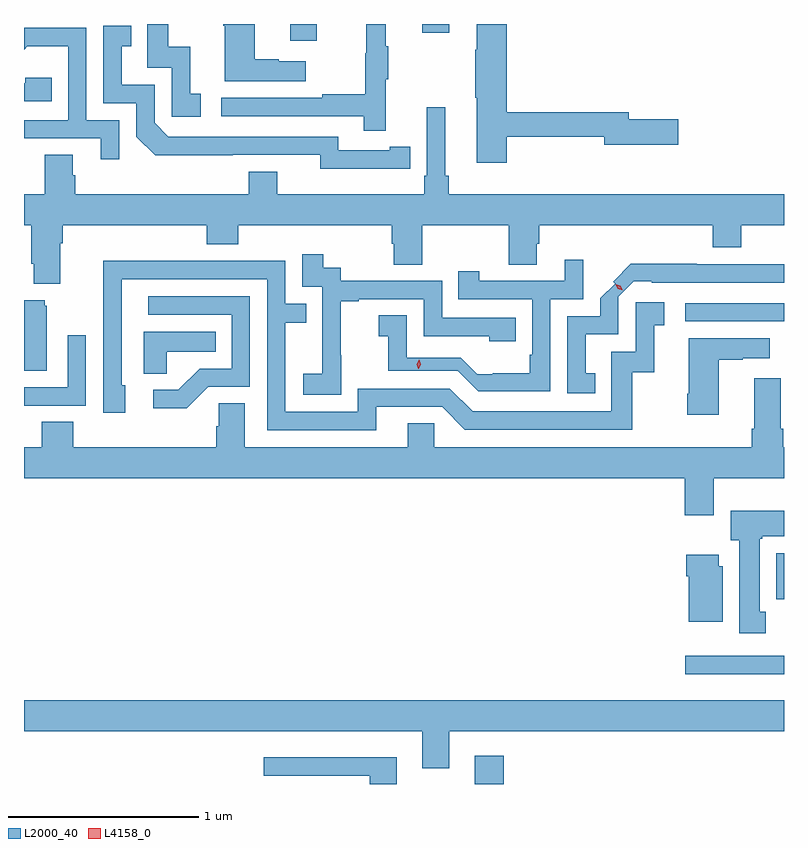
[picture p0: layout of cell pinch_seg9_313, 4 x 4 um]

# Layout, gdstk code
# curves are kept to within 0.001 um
import gdstk
lib = gdstk.Library(unit=1e-6, precision=1e-09)
def R(c, l, rs):  # rectangles x0, y0, x1, y1
    for r in rs: c.add(gdstk.rectangle(r[:2], r[2:], *l))
def P(c, l, *ps):  # polygons
    for p in ps: c.add(gdstk.Polygon(p, *l))
L2000_40 = (2000, 40)
L4158_0 = (4158, 0)

pinch_seg9_313 = lib.new_cell('pinch_seg9_313')
R(pinch_seg9_313, L2000_40, [(569.591,1177.495,569.744,1177.645), (570.699,1178.072,571.218,1178.169), (571.178,1178.468,571.218,1178.71), (570.699,1179.93,571.218,1180.026), (568.619,1181.406,568.759,1181.495), (569.315,1181.448,569.455,1181.495)])
P(pinch_seg9_313, L2000_40, [(568.147,1181.127),(568.094,1181.127),(568.094,1181.374),(567.976,1181.374),(567.976,1181.495),(567.867,1181.495),(567.867,1181.265),(567.996,1181.265),(567.996,1181.007),(568.147,1181.007)],
  [(568.702,1181.299),(568.559,1181.299),(568.559,1181.309),(568.432,1181.309),(568.432,1181.495),(568.267,1181.495),(568.267,1181.486),(568.274,1181.486),(568.274,1181.195),(568.702,1181.195)],
  [(569.759,1180.902),(570.272,1180.902),(570.272,1180.859),(570.661,1180.859),(570.661,1180.994),(570.4,1180.994),(570.4,1181.03),(569.759,1181.03),(569.759,1181.495),(569.6,1181.495),(569.6,1181.36),(569.593,1181.36),(569.593,1181.107),(569.6,1181.107),(569.6,1180.764),(569.759,1180.764)],
  [(569.123,1181.203),(569.134,1181.203),(569.134,1181.377),(569.123,1181.377),(569.123,1181.495),(569.02,1181.495),(569.02,1181.34),(569.013,1181.34),(569.013,1181.126),(568.789,1181.126),(568.789,1181.106),(568.257,1181.106),(568.257,1181.01),(569.005,1181.01),(569.005,1180.932),(569.123,1180.932)],
  [(569.144,1180.734),(569.252,1180.734),(569.252,1180.85),(569.144,1180.85),(569.144,1180.83),(568.872,1180.83),(568.872,1180.902),(567.978,1180.902),(567.906,1180.974),(567.906,1181.175),(567.733,1181.175),(567.733,1181.379),(567.782,1181.379),(567.782,1181.485),(567.636,1181.485),(567.636,1181.079),(567.81,1181.079),(567.81,1180.902),(567.908,1180.805),(568.776,1180.806),(568.776,1180.733)],
  [(567.72,1180.989),(567.546,1180.989),(567.546,1181.475),(567.218,1181.475),(567.218,1181.36),(567.236,1181.378),(567.45,1181.378),(567.45,1180.989),(567.218,1180.989),(567.218,1180.893),(567.623,1180.893),(567.623,1180.782),(567.72,1180.782)],
  [(567.365,1181.211),(567.225,1181.211),(567.225,1181.184),(567.218,1181.184),(567.218,1181.088),(567.365,1181.088)],
  [(567.409,1180.34),(567.422,1180.34),(567.422,1180.436),(568.181,1180.436),(568.181,1180.337),(568.346,1180.337),(568.346,1180.436),(569.153,1180.436),(569.153,1180.338),(569.165,1180.338),(569.165,1180.228),(569.313,1180.228),(569.313,1180.436),(569.77,1180.436),(569.77,1180.228),(569.917,1180.228),(569.917,1180.338),(569.93,1180.338),(569.93,1180.436),(570.842,1180.436),(570.842,1180.319),(570.994,1180.319),(570.994,1180.436),(571.218,1180.436),(571.218,1180.6),(569.453,1180.6),(569.453,1180.696),(569.434,1180.696),(569.434,1181.056),(569.337,1181.056),(569.337,1180.696),(569.324,1180.696),(569.324,1180.6),(568.552,1180.6),(568.552,1180.717),(568.4,1180.717),(568.4,1180.6),(567.488,1180.6),(567.488,1180.698),(567.475,1180.698),(567.475,1180.808),(567.328,1180.808),(567.328,1180.6),(567.218,1180.6),(567.218,1180.436),(567.257,1180.436),(567.257,1180.234),(567.269,1180.234),(567.269,1180.127),(567.409,1180.127)],
  [(568.887,1179.751),(568.886,1179.751),(568.886,1180.035),(568.981,1180.035),(568.981,1180.047),(569.322,1180.047),(569.322,1179.852),(569.667,1179.852),(569.667,1179.824),(569.807,1179.824),(569.807,1179.948),(569.418,1179.948),(569.418,1180.143),(568.884,1180.143),(568.884,1180.212),(568.792,1180.212),(568.792,1180.282),(568.683,1180.282),(568.683,1180.113),(568.788,1180.113),(568.788,1179.884),(568.787,1179.884),(568.787,1179.655),(568.689,1179.655),(568.689,1179.545),(568.887,1179.545)],
  [(569.988,1180.047),(570.162,1180.047),(570.162,1180.255),(570.065,1180.255),(570.065,1180.143),(569.614,1180.143),(569.614,1180.195),(569.503,1180.195),(569.503,1180.047),(569.892,1180.047),(569.892,1179.754),(569.88,1179.754),(569.88,1179.658),(569.684,1179.658),(569.684,1179.651),(569.603,1179.651),(569.517,1179.738),(569.232,1179.738),(569.232,1179.961),(569.085,1179.961),(569.085,1179.851),(569.134,1179.851),(569.134,1179.669),(569.502,1179.669),(569.61,1179.561),(569.988,1179.561)],
  [(569.071,1179.48),(569.418,1179.48),(569.538,1179.36),(570.418,1179.36),(570.418,1179.663),(570.536,1179.663),(570.536,1179.909),(570.589,1179.909),(570.589,1180.03),(570.438,1180.03),(570.438,1179.771),(570.309,1179.771),(570.309,1179.456),(569.58,1179.456),(569.46,1179.576),(568.974,1179.576),(568.974,1179.453),(568.593,1179.453),(568.593,1179.922),(568.703,1179.922),(568.703,1180.023),(568.593,1180.023),(568.593,1180.248),(568.097,1180.248),(568.097,1180.25),(567.634,1180.25),(567.634,1179.943),(567.636,1179.943),(567.636,1179.45),(567.751,1179.45),(567.751,1179.594),(567.732,1179.594),(567.732,1180.152),(568.497,1180.152),(568.497,1179.357),(569.071,1179.357)],
  [(570.224,1179.657),(570.175,1179.657),(570.175,1179.861),(570.345,1179.861),(570.345,1180.059),(570.426,1180.14),(570.523,1180.14),(570.523,1180.134),(571.218,1180.134),(571.218,1180.23),(570.758,1180.23),(570.758,1180.232),(570.412,1180.232),(570.319,1180.139),(570.33,1180.129),(570.252,1180.051),(570.252,1179.957),(570.078,1179.957),(570.078,1179.552),(570.224,1179.552)],
  [(568.188,1179.585),(568.407,1179.585),(568.407,1180.062),(567.873,1180.062),(567.873,1179.966),(568.311,1179.966),(568.311,1179.681),(568.142,1179.681),(568.031,1179.57),(567.897,1179.57),(567.897,1179.473),(568.075,1179.473)],
  [(567.337,1180.011),(567.326,1180.011),(567.326,1180.042),(567.218,1180.042),(567.218,1179.671),(567.337,1179.671)],
  [(567.969,1179.77),(568.226,1179.77),(568.226,1179.874),(567.848,1179.874),(567.848,1179.655),(567.969,1179.655)],
  [(567.227,1179.486),(567.543,1179.486),(567.543,1179.856),(567.447,1179.856),(567.447,1179.582),(567.218,1179.582),(567.218,1179.485),(567.227,1179.485)],
  [(570.874,1179.727),(571.001,1179.727),(571.001,1179.737),(571.144,1179.737),(571.144,1179.841),(570.716,1179.841),(570.716,1179.55),(570.709,1179.55),(570.709,1179.438),(570.874,1179.438)],
  [(569.376,1179.395),(569.237,1179.395),(569.237,1179.268),(568.381,1179.268),(568.381,1179.5),(568.242,1179.5),(568.242,1179.377),(568.229,1179.377),(568.229,1179.268),(567.476,1179.268),(567.476,1179.401),(567.311,1179.401),(567.311,1179.268),(567.218,1179.268),(567.218,1179.104),(570.695,1179.104),(570.695,1178.91),(570.847,1178.91),(570.847,1179.104),(571.218,1179.104),(571.218,1179.268),(571.214,1179.268),(571.214,1179.364),(571.201,1179.364),(571.201,1179.631),(571.061,1179.631),(571.061,1179.364),(571.049,1179.364),(571.049,1179.268),(569.376,1179.268)],
  [(571.123,1178.402),(571.09,1178.402),(571.09,1178.785),(571.104,1178.785),(571.104,1178.798),(571.218,1178.798),(571.218,1178.932),(570.938,1178.932),(570.938,1178.778),(570.983,1178.778),(570.983,1178.289),(571.123,1178.289)],
  [(570.895,1178.64),(570.874,1178.64),(570.874,1178.701),(570.704,1178.701),(570.704,1178.588),(570.716,1178.588),(570.716,1178.348),(570.895,1178.348)],
  [(569.455,1177.772),(571.218,1177.772),(571.218,1177.936),(567.218,1177.936),(567.218,1177.772),(569.315,1177.772),(569.315,1177.578),(569.455,1177.578)],
  [(569.179,1177.636),(568.479,1177.636),(568.479,1177.539),(569.039,1177.539),(569.039,1177.495),(569.179,1177.495)])
P(pinch_seg9_313, L4158_0, [(570.368,1180.094),(570.344,1180.101),(570.332,1180.124),(570.332,1180.124),(570.332,1180.124),(570.357,1180.117),(570.369,1180.094),(570.369,1180.094)],
  [(569.294,1179.681),(569.286,1179.705),(569.298,1179.728),(569.298,1179.728),(569.298,1179.728),(569.306,1179.704),(569.295,1179.681),(569.295,1179.681)])

lib.write_gds('pinch_seg9_313.gds')
